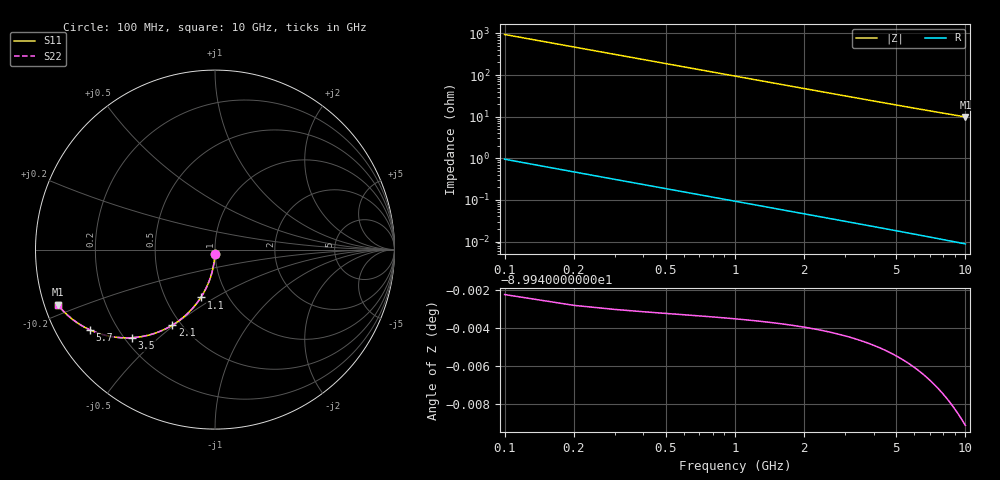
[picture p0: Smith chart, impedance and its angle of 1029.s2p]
# Hz S RI R 50.00
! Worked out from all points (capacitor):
!   100 points, 100 MHz to 10 GHz, reference 50 ohm
!   read as one part in shunt: C = 1.69 pF near 100 MHz
!   lowest |Z| = 9.87 ohm at 10 GHz (marker M1)
!   S11 on the Smith chart (normalised r, x): 100 MHz: 1.00, -0.05; 1.1 GHz: 0.75, -0.43; 2.1 GHz: 0.45, -0.49; 3.5 GHz: 0.23, -0.41; 5.7 GHz: 0.10, -0.29; 10 GHz: 0.04, -0.17
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1e8  -0.000697 -0.0263  0.9992 -0.0267  0.9992 -0.0267  -0.000697 -0.0263
2e8  -0.00283 -0.0525  0.9971 -0.0533  0.9971 -0.0533  -0.00283 -0.0525
3e8  -0.00634 -0.0785  0.9936 -0.0797  0.9936 -0.0797  -0.00634 -0.0785
4e8  -0.0112 -0.1041  0.9887 -0.1057  0.9887 -0.1057  -0.0112 -0.1041
5e8  -0.0174 -0.1293  0.9825 -0.1313  0.9825 -0.1313  -0.0174 -0.1293
6e8  -0.0248 -0.154  0.9751 -0.1564  0.9751 -0.1564  -0.0248 -0.154
7e8  -0.0335 -0.178  0.9665 -0.1808  0.9665 -0.1808  -0.0335 -0.178
9e8  -0.0541 -0.224  0.9458 -0.2276  0.9458 -0.2276  -0.0541 -0.224
1.1e9  -0.0786 -0.2665  0.9213 -0.2709  0.9213 -0.2709  -0.0786 -0.2665
1.4e9  -0.1214 -0.3233  0.8785 -0.3289  0.8785 -0.3289  -0.1214 -0.3233
1.8e9  -0.1858 -0.3848  0.8141 -0.3921  0.8141 -0.3921  -0.1858 -0.3848
2.1e9  -0.2369 -0.4205  0.763 -0.4289  0.763 -0.4289  -0.2369 -0.4205
2.7e9  -0.339 -0.4674  0.6609 -0.4783  0.6609 -0.4783  -0.339 -0.4674
3.4e9  -0.4484 -0.4899  0.5515 -0.5038  0.5515 -0.5038  -0.4484 -0.4899
3.5e9  -0.4627 -0.491  0.5371 -0.5052  0.5371 -0.5052  -0.4627 -0.491
4.3e9  -0.5652 -0.4864  0.4345 -0.504  0.4345 -0.504  -0.5652 -0.4864
5.1e9  -0.6466 -0.467  0.3531 -0.488  0.3531 -0.488  -0.6466 -0.467
5.7e9  -0.6958 -0.4477  0.3038 -0.4713  0.3038 -0.4713  -0.6958 -0.4477
6.7e9  -0.76 -0.4125  0.2396 -0.4404  0.2396 -0.4404  -0.76 -0.4125
7.5e9  -0.799 -0.3843  0.2004 -0.4158  0.2004 -0.4158  -0.799 -0.3843
8.4e9  -0.8333 -0.3541  0.166 -0.3896  0.166 -0.3896  -0.8333 -0.3541
1e10  -0.8769 -0.3061  0.1221 -0.3488  0.1221 -0.3488  -0.8769 -0.3061
